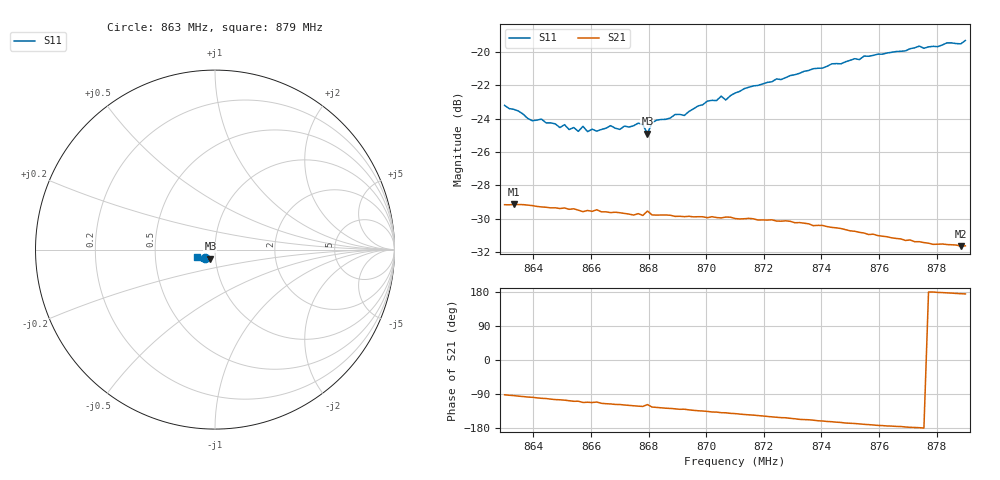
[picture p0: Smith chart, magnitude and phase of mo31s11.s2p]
# HZ S RI R 50
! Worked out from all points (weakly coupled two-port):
!   101 points, 863 MHz to 879 MHz, reference 50 ohm
!   highest |S21| = -29.15 dB at 863.32 MHz (marker M1); lowest = -31.7 dB at 878.84 MHz (marker M2)
!   lowest |S11| = -24.9 dB at 867.96 MHz (marker M3), VSWR 1.12, Z = 47.3 - j4.83 ohm
!   |S11| at or under -10 dB: start of sweep to end of sweep
!   S12 and S22 are empty: the file has one direction only
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8.63e8  -0.0532 -0.0442  -0.00113 -0.0348  0 0  0 0
8.6332e8  -0.0517 -0.0431  -0.00242 -0.0348  0 0  0 0
8.6396e8  -0.0461 -0.0418  -0.00509 -0.0342  0 0  0 0
8.6428e8  -0.0457 -0.0433  -0.00657 -0.0336  0 0  0 0
8.6492e8  -0.0425 -0.0415  -0.00879 -0.0328  0 0  0 0
8.6508e8  -0.0433 -0.0424  -0.00934 -0.0327  0 0  0 0
8.6556e8  -0.0387 -0.043  -0.0108 -0.0317  0 0  0 0
8.6572e8  -0.0392 -0.0452  -0.0125 -0.0307  0 0  0 0
8.662e8  -0.0349 -0.0462  -0.012 -0.0314  0 0  0 0
8.6764e8  -0.0352 -0.0501  -0.0172 -0.0278  0 0  0 0
8.6796e8  -0.0256 -0.0509  -0.0154 -0.0295  0 0  0 0
8.6812e8  -0.0338 -0.0512  -0.0182 -0.0268  0 0  0 0
8.6844e8  -0.0344 -0.0525  -0.0192 -0.0262  0 0  0 0
8.6924e8  -0.0339 -0.0549  -0.0206 -0.0246  0 0  0 0
8.7004e8  -0.0378 -0.0605  -0.0227 -0.0223  0 0  0 0
8.7052e8  -0.0406 -0.0616  -0.024 -0.0208  0 0  0 0
8.7068e8  -0.0378 -0.0611  -0.0242 -0.0209  0 0  0 0
8.71e8  -0.0415 -0.0629  -0.0247 -0.0198  0 0  0 0
8.7372e8  -0.058 -0.0678  -0.0281 -0.0109  0 0  0 0
8.7644e8  -0.0812 -0.0582  -0.0276 -0.00269  0 0  0 0
8.7884e8  -0.0975 -0.0415  -0.026 0.00231  0 0  0 0
8.79e8  -0.1011 -0.0393  -0.0261 0.00254  0 0  0 0
